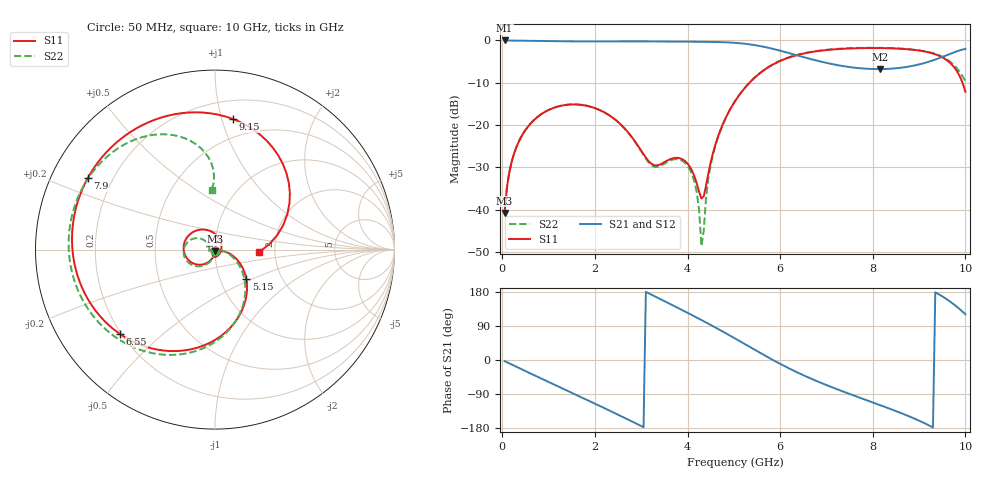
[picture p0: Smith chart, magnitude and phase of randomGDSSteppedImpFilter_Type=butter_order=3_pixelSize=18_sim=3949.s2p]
! freq	dB(S11)	phase(S11)	dB(S12)	phase(S12)
!  dB(S21)	phase(S21)	dB(S22)	phase(S22)
!S-par simulation data
#  GHz  S  DB  R 50
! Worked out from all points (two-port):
!   200 points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, 50 MHz to 10 GHz, reference 50 ohm
!   highest |S21| = -0.01 dB at 50 MHz (marker M1); lowest = -6.8 dB at 8.15 GHz (marker M2)
!   |S21| within 3 dB of the highest: start of sweep to 6.197 GHz; 9.709 GHz to end of sweep
!   lowest |S11| = -40.7 dB at 50 MHz (marker M3), VSWR 1.02, Z = 49.9 - j0.915 ohm
!   |S11| at or under -10 dB: start of sweep to 5.338 GHz; 9.937 GHz to end of sweep
!   |S22| runs from -48.6 to -1.7 dB; largest |S21 - S12| = 0
!   S11 on the Smith chart (normalised r, x): 50 MHz: 1.00, -0.02; 5.15 GHz: 1.33, -0.46; 6.55 GHz: 0.19, -0.37; 7.9 GHz: 0.11, +0.26; 9.15 GHz: 0.34, +1.08; 10 GHz: 1.66, -0.05
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0.05  -40.75 -92.7  -0.01 -3.0  -0.01 -3.0  -40.74 -92.3
0.2  -28.77 -102.5  -0.03 -11.8  -0.03 -11.8  -28.76 -101.0
0.5  -21.17 -121.3  -0.07 -29.2  -0.07 -29.2  -21.16 -117.6
1.15  -15.78 -161.8  -0.19 -66.6  -0.19 -66.6  -15.77 -152.5
1.75  -15.29 160.1  -0.25 -100.8  -0.25 -100.8  -15.29 177.1
2.65  -20.89 92.2  -0.22 -153.2  -0.22 -153.2  -20.92 140.3
3.4  -29.33 -39.7  -0.25 161.5  -0.25 161.5  -29.72 -175.0
4.05  -29.85 -112.8  -0.31 121.4  -0.31 121.4  -30.49 -171.3
4.2  -33.80 -108.2  -0.32 111.9  -0.32 111.9  -35.92 178.5
4.3  -37.36 -76.8  -0.32 105.5  -0.32 105.5  -48.62 137.1
4.55  -26.60 -11.8  -0.35 89.2  -0.35 89.2  -26.96 -8.0
5.05  -13.96 -36.4  -0.58 55.1  -0.58 55.1  -13.94 -40.0
5.15  -12.42 -43.3  -0.68 48.1  -0.68 48.1  -12.39 -46.5
5.75  -6.30 -86.3  -1.75 6.2  -1.75 6.2  -6.26 -85.3
6.55  -2.99 -138.5  -4.08 -42.9  -4.08 -42.9  -2.94 -131.1
6.7  -2.70 -147.2  -4.51 -51.0  -4.51 -51.0  -2.64 -138.5
7.9  -1.80 150.6  -6.71 -107.5  -6.71 -107.5  -1.74 170.8
8.15  -1.80 138.1  -6.77 -118.7  -6.77 -118.7  -1.75 161.3
8.35  -1.85 128.0  -6.71 -127.8  -6.71 -127.8  -1.79 153.6
9.15  -2.68 82.3  -5.23 -168.6  -5.23 -168.6  -2.62 121.2
9.65  -5.11 42.2  -3.26 155.9  -3.26 155.9  -4.85 98.1
10  -12.14 -3.0  -2.01 120.6  -2.01 120.6  -9.60 93.4
